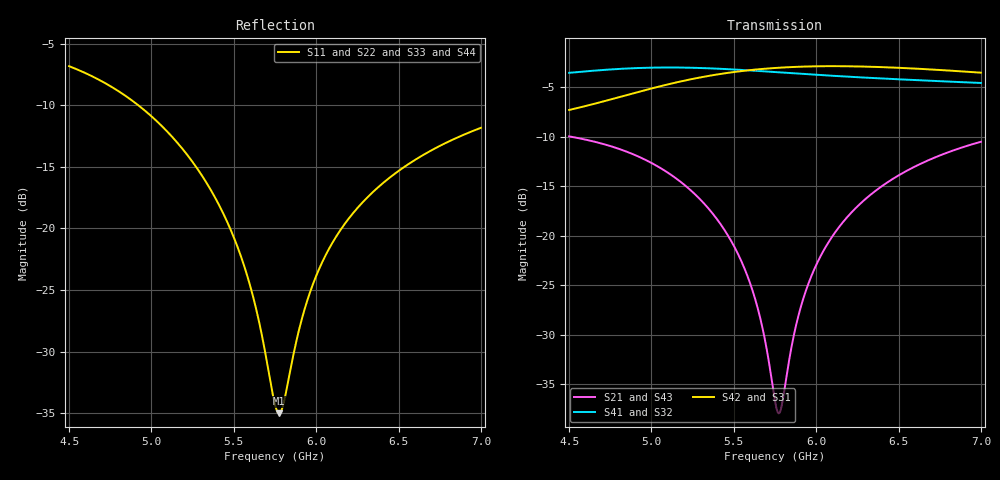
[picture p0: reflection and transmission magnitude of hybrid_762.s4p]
! TOUCHSTONE file generated by CST MICROWAVE STUDIO
! Date and time: Tue Sep 29 18:59:09 2026
! Project name: project2.cst
! Parameters = {Lf=10; a=9.6432; b=9.8112; h=0.762; s=1.12; t=0.035; w35=3.44; w50=2.1}
! Header version: 2024
! Port assignment regex: !\s*Touchstone port\s*([0-9]+)\s*=\s*(CST MWS port|CST DES external port|CST DES block port)\s*(.+)\s* \(\"(.*)\"\)(\s*mode\s*([0-9]+))?.*
! Touchstone port assignment:
! Touchstone port 1 = CST MWS port 1 ("")
! Touchstone port 2 = CST MWS port 2 ("")
! Touchstone port 3 = CST MWS port 3 ("")
! Touchstone port 4 = CST MWS port 4 ("")
# GHz S MA R 50
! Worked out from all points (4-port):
!   5001 points, 4.5 GHz to 7 GHz, reference 50 ohm
!   strongest paths, dB at 4.5 GHz, 5.125 GHz, 5.75 GHz, 6.375 GHz, 7 GHz:
!     S42: -7.3, -4.6, -3.0, -2.9, -3.5
!     S31: -7.3, -4.6, -3.0, -2.9, -3.5
!     S41: -3.5, -3.0, -3.4, -4.1, -4.5
!     S32: -3.5, -3.0, -3.4, -4.1, -4.5
!     S21: -9.9, -13.9, -36.7, -15.3, -10.5
!     S43: -9.9, -13.9, -36.7, -15.3, -10.5
!   lowest |S11| = -35.0 dB at 5.775 GHz (marker M1), VSWR 1.04, Z = 51.1 - j1.43 ohm
!   |S11| at or under -10 dB: 4.92 GHz to end of sweep
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4.5  0.4555 -42.5  0.3182 85.2  0.4326 133.4  0.6664 63.7
     0.3182 85.2  0.4555 -42.5  0.6664 63.7  0.4326 133.4
     0.4326 133.4  0.6664 63.7  0.4555 -42.5  0.3182 85.2
     0.6664 63.7  0.4326 133.4  0.3182 85.2  0.4555 -42.5
5.3885  0.1326 -107.2  0.1243 -0.2  0.6518 78.8  0.7004 -9.5
        0.1243 -0.2  0.1326 -107.2  0.7004 -9.5  0.6518 78.8
        0.6518 78.8  0.7004 -9.5  0.1326 -107.3  0.1243 -0.2
        0.7004 -9.5  0.6518 78.8  0.1243 -0.2  0.1326 -107.3
5.6105  0.05494 -112.1  0.05392 -29.2  0.6895 61.8  0.6844 -27.2
        0.05392 -29.2  0.05494 -112.1  0.6844 -27.2  0.6895 61.8
        0.6895 61.8  0.6844 -27.2  0.05492 -112.1  0.0539 -29.3
        0.6844 -27.2  0.6895 61.8  0.0539 -29.3  0.05492 -112.1
5.775  0.01779 -51.9  0.0127 -123.8  0.7074 49.0  0.6705 -39.9
       0.0127 -123.8  0.01779 -51.9  0.6705 -39.9  0.7074 49.0
       0.7074 49.0  0.6705 -39.9  0.01779 -51.9  0.01273 -123.9
       0.6705 -39.9  0.7074 49.0  0.01273 -123.9  0.01779 -51.9
5.926  0.04614 5.6  0.04943 149.9  0.7168 37.4  0.6577 -51.3
       0.04943 149.9  0.04614 5.6  0.6577 -51.3  0.7168 37.4
       0.7168 37.4  0.6577 -51.3  0.04614 5.6  0.04945 149.9
       0.6577 -51.3  0.7168 37.4  0.04945 149.9  0.04614 5.6
6.131  0.09489 5.3  0.1086 123.4  0.7201 21.9  0.6417 -66.4
       0.1086 123.4  0.09489 5.3  0.6417 -66.4  0.7201 21.9
       0.7201 21.9  0.6417 -66.4  0.0949 5.3  0.1086 123.4
       0.6417 -66.4  0.7201 21.9  0.1086 123.4  0.0949 5.3
7  0.2561 -36.8  0.2989 47.7  0.6676 -38.9  0.5924 -128.9
   0.2989 47.7  0.2561 -36.8  0.5924 -128.9  0.6676 -38.9
   0.6676 -38.9  0.5924 -128.9  0.2561 -36.8  0.2989 47.7
   0.5924 -128.9  0.6676 -38.9  0.2989 47.7  0.2561 -36.8
